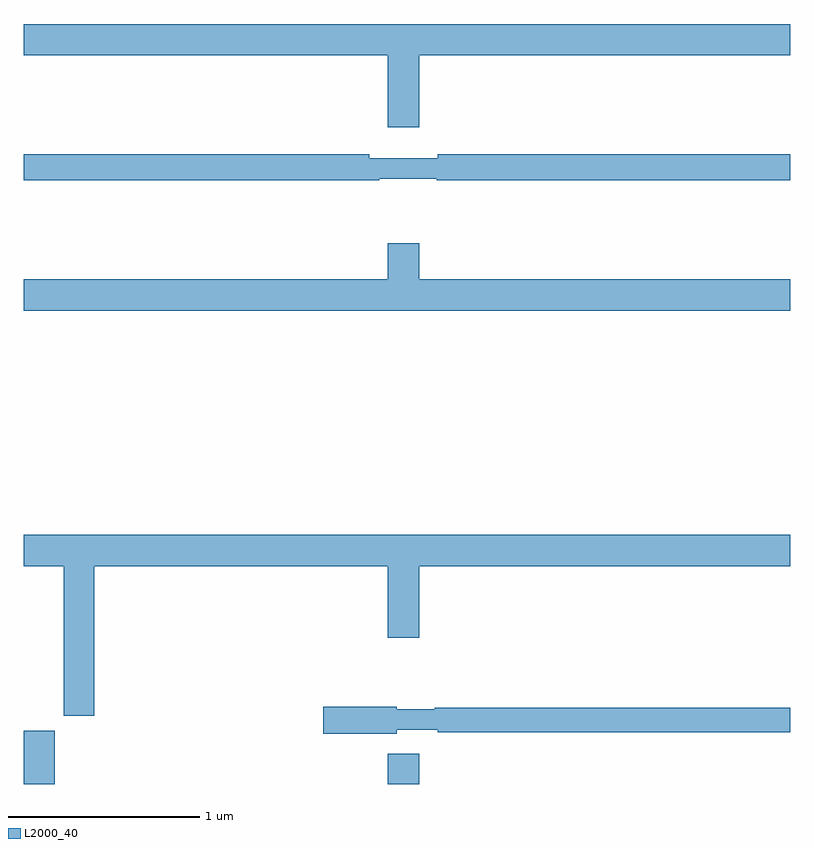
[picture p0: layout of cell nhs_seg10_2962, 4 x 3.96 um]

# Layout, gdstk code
import gdstk
lib = gdstk.Library(unit=1e-6, precision=1e-09)
def R(c, l, rs):  # rectangles x0, y0, x1, y1
    for r in rs: c.add(gdstk.rectangle(r[:2], r[2:], *l))
def P(c, l, *ps):  # polygons
    for p in ps: c.add(gdstk.Polygon(p, *l))
L2000_40 = (2000, 40)

nhs_seg10_2962 = lib.new_cell('nhs_seg10_2962')
R(nhs_seg10_2962, L2000_40, [(271,1312.5,271.162,1312.777), (272.9,1312.5,273.064,1312.657)])
P(nhs_seg10_2962, L2000_40, [(273.064,1316.3),(275,1316.3),(275,1316.464),(271,1316.464),(271,1316.3),(272.9,1316.3),(272.9,1315.926),(273.064,1315.926)],
  [(272.855,1315.656),(273.155,1315.656),(273.155,1315.648),(275,1315.648),(275,1315.784),(273.16,1315.784),(273.16,1315.765),(272.804,1315.765),(272.804,1315.784),(271,1315.784),(271,1315.648),(272.855,1315.648)],
  [(275,1315.132),(273.064,1315.132),(273.064,1315.321),(272.9,1315.321),(272.9,1315.132),(271,1315.132),(271,1314.968),(275,1314.968)],
  [(271.37,1313.636),(272.9,1313.636),(272.9,1313.262),(273.064,1313.262),(273.064,1313.636),(275,1313.636),(275,1313.8),(271,1313.8),(271,1313.636),(271.21,1313.636),(271.21,1312.857),(271.37,1312.857)],
  [(272.946,1312.782),(273.16,1312.782),(273.16,1312.77),(275,1312.77),(275,1312.898),(273.146,1312.898),(273.146,1312.891),(272.946,1312.891),(272.946,1312.904),(272.562,1312.904),(272.562,1312.762),(272.946,1312.762)])

lib.write_gds('nhs_seg10_2962.gds')
